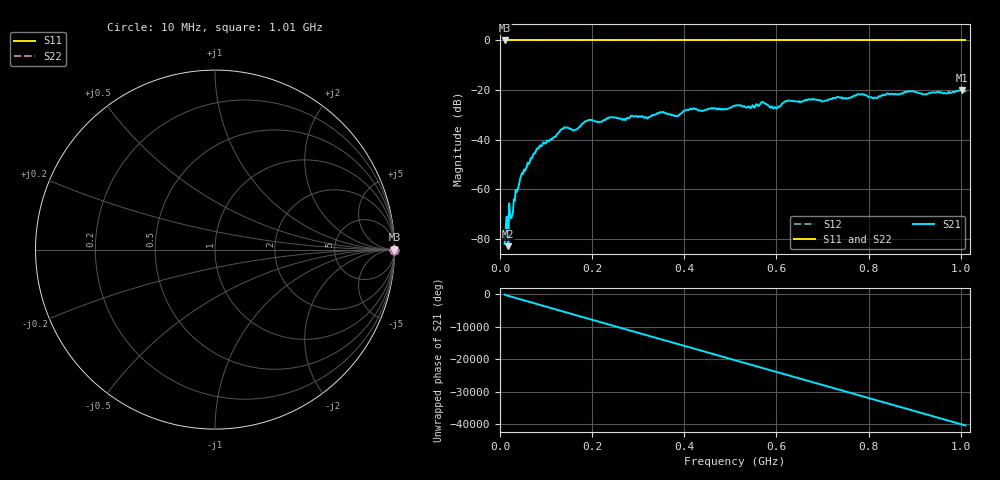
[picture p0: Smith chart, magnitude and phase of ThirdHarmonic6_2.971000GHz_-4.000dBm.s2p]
! 8/17/2025 8:24:37 AM
! C:\ANRITSUVNA\TEMP\TEMP.S2P
! CHANNEL.1
! TR.MEASUREMENT
! RAW.DATA
! RF.CORRECTION.OFF
! AVERAGING.OFF
! IF.BANDWIDTH: 5KHZ
! SWEEPTYPE:  FREQ.SWEEP(Linear)
! Reference Plane Port Info
! PORT:  PORT1  PORT2
! DISTANCE:  0  m  0  m
! TIME:  0  s  0  s
! PHASE.OFFSET:  0  deg.  0  deg.
! LOSS:  0  dB  0  dB
! REF.LOSS:  0  dB  0  dB
! REF.FREQ:  0  Hz  0  Hz
! Power Info
! POWER:  -20  dBm  -20  dBm
! EFF.POWER:  -20  dBm  -20  dBm
! SOURCE.ATTEN:  0  dB  0  dB
! TEST.ATTEN:  0  dB  0  dB
# GHZ S RI R 50.0
! FREQ.GHZ  S11RE  S11IM  S21RE  S21IM  S12RE  S12IM  S22RE  S22IM
!; PortSelection: Port_12
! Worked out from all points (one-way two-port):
!   501 points, 10 MHz to 1.01 GHz, reference 50 ohm
!   highest |S21| = -19.91 dB at 1.002 GHz (marker M1); lowest = -82.9 dB at 18 MHz (marker M2)
!   lowest |S11| = 0.0 dB at 10 MHz (marker M3)
!   |S11| at or under -10 dB: nowhere
!   |S22| runs from 0.0 to 0.0 dB; largest |S21 - S12| = 1.1
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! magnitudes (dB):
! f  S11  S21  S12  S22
! 10 MHz  0.0  -82.0  0.0  0.0
! 18 MHz  0.0  -82.9  0.0  0.0
! 22 MHz  0.0  -71.0  0.0  0.0
! 34 MHz  0.0  -60.2  0.0  0.0
! 48 MHz  0.0  -53.3  0.0  0.0
! 82 MHz  0.0  -43.4  0.0  0.0
! 136 MHz  0.0  -35.7  0.0  0.0
! 162 MHz  0.0  -36.0  0.0  0.0
! 178 MHz  0.0  -33.6  0.0  0.0
! 194 MHz  0.0  -32.0  0.0  0.0
! 318 MHz  0.0  -31.1  0.0  0.0
! 344 MHz  0.0  -29.4  0.0  0.0
! 384 MHz  0.0  -30.5  0.0  0.0
! 416 MHz  0.0  -27.6  0.0  0.0
! 510 MHz  0.0  -26.3  0.0  0.0
! 570 MHz  0.0  -24.7  0.0  0.0
! 598 MHz  0.0  -27.0  0.0  0.0
! 624 MHz  0.0  -24.4  0.0  0.0
! 678 MHz  0.0  -23.5  0.0  0.0
! 844 MHz  0.0  -21.6  0.0  0.0
! 1.002 GHz  0.0  -19.9  0.0  0.0
! 1.01 GHz  0.0  -20.5  0.0  0.0
